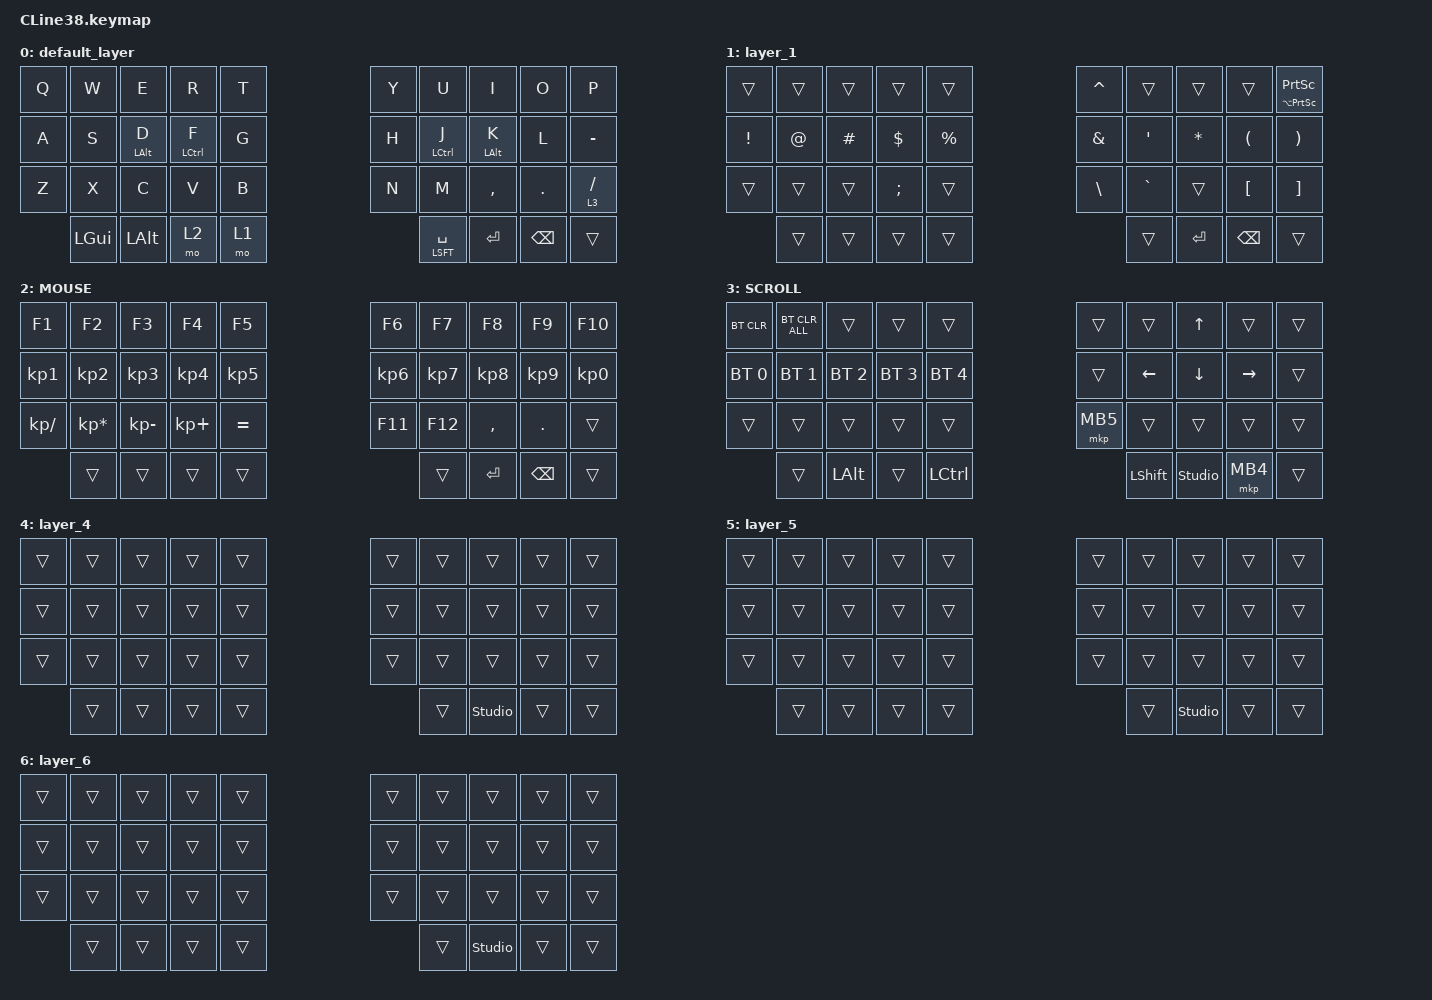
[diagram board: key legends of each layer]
#include <input/processors.dtsi>
#include <dt-bindings/zmk/input_transform.h>
#include <zephyr/dt-bindings/input/input-event-codes.h>
#include <behaviors.dtsi>
#include <behaviors/runtime_macro.dtsi>
#include <dt-bindings/zmk/bt.h>
#include <dt-bindings/zmk/keys.h>
#include <dt-bindings/zmk/pointing.h>

// キー位置 (CLine38.dtsi の物理レイアウト番号)
//   左手:  0- 4 / 10-14 / 20-24    右手:  5- 9 / 15-19 / 25-29
//   親指: 30-34 (左) / 35-37 (右)
#define KEYS_L 0 1 2 3 4 10 11 12 13 14 20 21 22 23 24
#define KEYS_R 5 6 7 8 9 15 16 17 18 19 25 26 27 28 29
#define THUMBS 30 31 32 33 34 35 36 37

// 【変更】quick-tap-ms を 0 → 150 に変更
//   Space/Shift (&mt LSFT SPACE) をタップした直後 150ms 以内に再度長押しすると、
//   Shift ではなく Space を押しっぱなし (キーリピート) にする。
//   Space 直後に Shift で大文字を打つと Space 連打になる誤爆が出る場合は値を下げる (100〜120 程度)。
//   ※ &mt を使う他のキー (PrintScreen など) にも同じ挙動が付く
&mt {
    flavor = "balanced";
    quick-tap-ms = <150>;
};

/ {
    // 標準コンボ (D+F: Tab, S+D: Shift+Tab) を削除
    // コンボは DYA Studio のランタイムコンボで管理する (D+F, S+D も DYA Studio 側で使用中のため衝突回避)

    // 【追加】ランタイムコンボの初期値 (zmk-feature-runtime-combo の compile-time defaults)
    //   書き込み直後や settings_reset 後でも有効。DYA Studio で編集した値があればそちらが優先され、
    //   DYA Studio の「Reset to Default」でここの値に戻せる。
    //   slot 番号ごとに管理されるため、DYA Studio 側の登録とスロット番号を揃えること
    //   (揃っていないと同じコンボが二重に有効になる)。layers 省略 = 全レイヤーで有効。
    //   キー位置: S=11 D=12 F=13 / J=16 K=17 / W=1 E=2 / U=6 I=7 O=8 / X=21 C=22
    runtime_combo_defaults {
        compatible = "cormoran,runtime-combo-defaults";

        combo_lang1 {
            slot = <0>;
            key-positions = <16 17>;    // J + K
            bindings = <&kp LANG1>;
            display-name = "LANG1";
        };

        combo_lang2 {
            slot = <1>;
            key-positions = <12 13>;    // D + F
            bindings = <&kp LANG2>;
            display-name = "LANG2";
        };

        combo_lclick {
            slot = <2>;
            key-positions = <6 7>;      // U + I
            bindings = <&mkp LCLK>;
            display-name = "Left Click";
        };

        combo_rclick {
            slot = <3>;
            key-positions = <7 8>;      // I + O
            bindings = <&mkp RCLK>;
            display-name = "Right Click";
        };

        combo_mclick {
            slot = <4>;
            key-positions = <6 8>;      // U + O
            bindings = <&mkp MCLK>;
            display-name = "Middle Click";
        };

        combo_tab {
            slot = <5>;
            key-positions = <11 12>;    // S + D
            bindings = <&kp TAB>;
            display-name = "Tab";
        };

        combo_esc {
            slot = <6>;
            key-positions = <1 2>;      // W + E
            bindings = <&kp ESC>;
            display-name = "Esc";
        };

        combo_del {
            slot = <7>;
            key-positions = <21 22>;    // X + C
            bindings = <&kp DEL>;
            display-name = "Delete";
        };
    };

    macros {
        to_layer_0: to_layer_0 {
            compatible = "zmk,behavior-macro-one-param";
            #binding-cells = <1>;
            bindings = <&to 0 &macro_param_1to1 &kp MACRO_PLACEHOLDER>;
            label = "TO_LAYER_0";
        };
    };

    behaviors {
        lt_to_layer_0: lt_to_layer_0 {
            compatible = "zmk,behavior-hold-tap";
            label = "LAYER_TAP_TO_0";
            bindings = <&mo>, <&to_layer_0>;

            #binding-cells = <2>;
            tapping-term-ms = <200>;
        };

        // Home Row Mods (HRM)
        // ref: https://zenn.dev/tomori_k/articles/9793e7300488f6
        //   flavor = "balanced"        : 押して離すまでのタイミングで判定し、速打ち時の誤判定 (例: "ha" → Ctrl+A) を防ぐ
        //   hold-trigger-key-positions : 反対の手 (+親指) のキーを押したときだけ Hold と判定し、片手打鍵での誤爆を防ぐ
        //   hold-trigger-on-release    : 判定をキーを離すまで遅らせ、同じ手で修飾キーを重ねる操作も可能にする
        //   require-prior-idle-ms      : 直前の打鍵から 150ms 以内なら必ず Tap 扱い (高速タイピング時の誤爆を大幅に軽減)

        // 【変更】default_layer の D / F / J / K に割り当て済み
        // 左手 HRM (D: Alt)
        hm_l: hm_l {
            compatible = "zmk,behavior-hold-tap";
            display-name = "HRM Left";
            #binding-cells = <2>;
            bindings = <&kp>, <&kp>;
            flavor = "balanced";
            tapping-term-ms = <200>;
            hold-trigger-key-positions = <KEYS_R THUMBS>;
            hold-trigger-on-release;
            require-prior-idle-ms = <150>;
        };

        // 左手 HRM (F: Ctrl)
        //   hold-while-undecided : 判定前から修飾キーを押下状態にする　Ctrl+クリックなど
        //                          トラックボール・マウスとの組み合わせ用 (記事の Shift/Command 用設定に相当)
        //                          Alt は単独タップで Windows のメニューが開くため、Alt 側には付けない
        hm_l_mouse: hm_l_mouse {
            compatible = "zmk,behavior-hold-tap";
            display-name = "HRM Left (Mouse)";
            #binding-cells = <2>;
            bindings = <&kp>, <&kp>;
            flavor = "balanced";
            tapping-term-ms = <200>;
            hold-trigger-key-positions = <KEYS_R THUMBS>;
            hold-trigger-on-release;
            require-prior-idle-ms = <150>;
            hold-while-undecided;
        };

        // 右手 HRM (J: Ctrl, K: Alt)
        hm_r: hm_r {
            compatible = "zmk,behavior-hold-tap";
            display-name = "HRM Right";
            #binding-cells = <2>;
            bindings = <&kp>, <&kp>;
            flavor = "balanced";
            tapping-term-ms = <200>;
            hold-trigger-key-positions = <KEYS_L THUMBS>;
            hold-trigger-on-release;
            require-prior-idle-ms = <150>;
        };
    };

    keymap {
        compatible = "zmk,keymap";

        // 【変更】DYA Studio の現在の設定 (Keyboard Abyss 書き出し cline38-2026-10-08 v2) に合わせて全レイヤーを更新
        //   数値表記のキーコードは名前表記に変換。D / F / J / K は &mt から HRM 用 behavior に変更。
        default_layer {
            bindings = <
&kp Q      &kp W     &kp E          &kp R                 &kp T                                       &kp Y      &kp U           &kp I          &kp O     &kp P
&kp A      &kp S     &hm_l LALT D   &hm_l_mouse LCTRL F   &kp G                                       &kp H      &hm_r LCTRL J   &hm_r LALT K   &kp L     &kp MINUS
&kp Z      &kp X     &kp C          &kp V                 &kp B                                       &kp N      &kp M           &kp COMMA      &kp DOT   &lt 3 SLASH
           &kp LGUI  &kp LALT       &mo 2                 &mo 1     &mt LSFT SPACE          &kp RET   &kp BSPC                                            &trans
            >;
        };


        layer_1 {
            bindings = <
&trans     &trans    &trans     &trans       &trans                                            &kp CARET   &trans      &trans     &trans     &mt LA(PSCRN) PSCRN
&kp EXCL   &kp AT_SIGN &kp HASH &kp DOLLAR   &kp PERCENT                                       &kp AMPS    &kp SQT     &kp STAR   &kp LPAR   &kp RPAR
&trans     &trans    &trans     &kp SEMI     &trans                                            &kp BSLH    &kp GRAVE   &trans     &kp LBKT   &kp RBKT
           &trans    &trans     &trans       &trans     &trans               &kp RET           &kp BSPC                                       &trans
            >;
        };


        // 【変更】テンキーの = (KP_EQUAL) は Windows で入力できないため、通常の = (EQUAL) に変更
        MOUSE {
            bindings = <
&kp F1         &kp F2            &kp F3         &kp F4        &kp F5                              &kp F6      &kp F7      &kp F8      &kp F9      &kp F10
&kp KP_N1      &kp KP_N2         &kp KP_N3      &kp KP_N4     &kp KP_N5                           &kp KP_N6   &kp KP_N7   &kp KP_N8   &kp KP_N9   &kp KP_N0
&kp KP_SLASH   &kp KP_MULTIPLY   &kp KP_MINUS   &kp KP_PLUS   &kp EQUAL                           &kp F11     &kp F12     &kp COMMA   &kp DOT     &trans
               &trans            &trans         &trans        &trans     &trans          &kp RET  &kp BSPC                                          &trans
            >;
        };


        // スクロールモードのレイヤー (CLine38_R.overlay の scroller layers = <3>)。&lt 3 SLASH (/ 長押し) で有効
        SCROLL {
            bindings = <
&bt BT_CLR     &bt BT_CLR_ALL   &trans         &trans         &trans                              &trans     &trans     &kp UP     &trans      &trans
&bt BT_SEL 0   &bt BT_SEL 1     &bt BT_SEL 2   &bt BT_SEL 3   &bt BT_SEL 4                        &trans     &kp LEFT   &kp DOWN   &kp RIGHT   &trans
&trans         &trans           &trans         &trans         &trans                              &mkp MB5   &trans     &trans     &trans      &trans
               &trans           &kp LALT       &trans         &kp LCTRL  &kp LSHIFT  &studio_unlock   &mkp MB4                                &trans
            >;
        };


        layer_4 {
            bindings = <
&trans   &trans   &trans   &trans   &trans                                &trans   &trans   &trans   &trans   &trans
&trans   &trans   &trans   &trans   &trans                                &trans   &trans   &trans   &trans   &trans
&trans   &trans   &trans   &trans   &trans                                &trans   &trans   &trans   &trans   &trans
         &trans   &trans   &trans   &trans   &trans      &studio_unlock   &trans                     &trans
            >;
        };


        layer_5 {
            bindings = <
&trans   &trans   &trans   &trans   &trans                                &trans   &trans   &trans   &trans   &trans
&trans   &trans   &trans   &trans   &trans                                &trans   &trans   &trans   &trans   &trans
&trans   &trans   &trans   &trans   &trans                                &trans   &trans   &trans   &trans   &trans
         &trans   &trans   &trans   &trans   &trans      &studio_unlock   &trans                     &trans
            >;
        };


        layer_6 {
            bindings = <
&trans   &trans   &trans   &trans   &trans                                &trans   &trans   &trans   &trans   &trans
&trans   &trans   &trans   &trans   &trans                                &trans   &trans   &trans   &trans   &trans
&trans   &trans   &trans   &trans   &trans                                &trans   &trans   &trans   &trans   &trans
         &trans   &trans   &trans   &trans   &trans      &studio_unlock   &trans                     &trans
            >;
        };
    };
};
